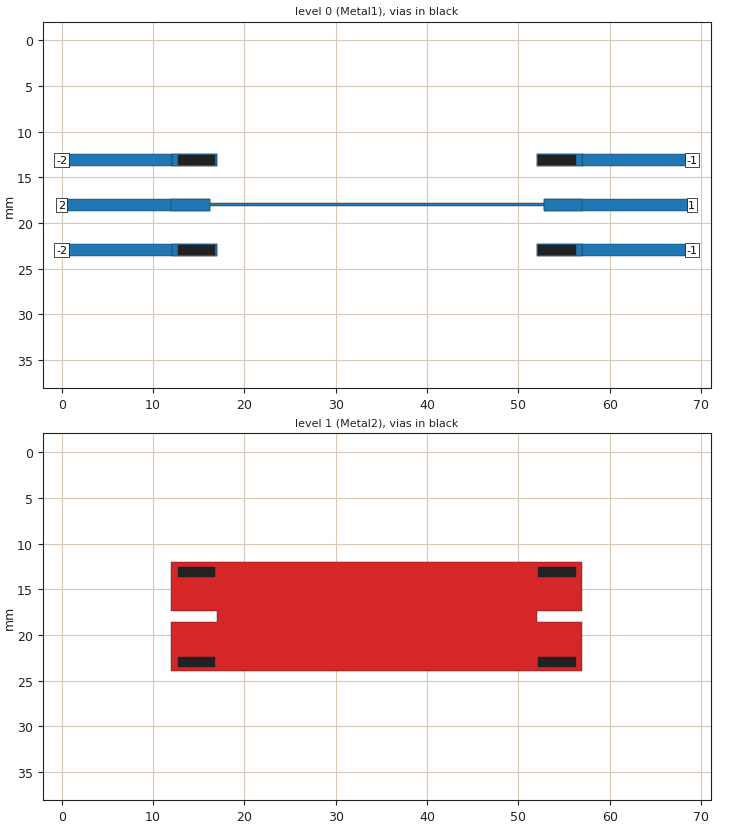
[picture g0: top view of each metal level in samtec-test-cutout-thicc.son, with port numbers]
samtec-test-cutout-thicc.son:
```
FTYP SONPROJ 18 ! Sonnet Project File
VER 17.56
HEADER
LIC antikernel2.1.50170 ac1f6b6437c5 havequick azonenberg Level3Gold
DAT 05/29/2021 16:32:28
BUILT_BY_CREATED dxf 17.52.2 05/01/2020 05:35:06
BUILT_BY_SAVED sonnet 17.56
MDATE 05/29/2021 16:32:28
HDATE 05/29/2021 16:32:28
ANN Created by dxfgeo, Sonnet Software Inc.
ANN 
ANN _gk:
ANN 
ANN removed minus Co-Cal ports on PCB groundpads. They reference internal groundplane, while plus ports reference the analysis box
ANN enlarged the box from 45.6 x 15 mm to 49 x 16 mm which creates  a 2 mm gap around the circuit
ANN moved whole structure @-0.125,0 to align with 0.25 mm grid
ANN added 2 mm feedlines to the signal trace and groundpads
ANN push/pull port configuration
ANN 
ANN _gk3:
ANN 
ANN trying to decrease interaction between circuit and box sidewalls and place in open space
ANN increased box to 69 x 36 mm and recentered geometry
ANN increased reference planes to 12 mm
ANN 
ANN 
ANN 
ANN 
ANN 
ANN 
END HEADER
DIM
ANG DEG
CAP PF
CON /OH
FREQ GHZ
IND NH
LNG MM
RES OH
END DIM
CONTROL
VARSWP
OPTIONS  -dj
SPEED 1
CACHE_ABS 1
Q_ACC N
END CONTROL
GEO
SYM
DRP1 LEFT FIX 12
DRP1 RIGHT FIX 12
TMET "Free Space" 0 FREESPACE 376.7303136 0 0 0
BMET "Free Space" 0 FREESPACE 376.7303136 0 0 0
MET "Copper 1oz thick" 2 TMM 58000000 0.5 0.035 2
MET "Nickel " 3 TMM 14300000 0.5 3.5e-05 2
MET "Copper 0.5oz" 1 NOR 58000000 0.5 0.0175 
MET "Unknown_metal" 1 NOR INF 0.5 0 
MET "Center pin" 30 TMM 5.8e-07 0.5 1.27 5
MET "Unknown_metal" 1 VOL INF 0
BRI "Alumina (96%)" 0 9.4 0.0004 0 
BRI "Alumina (99.5%)" 0 9.9 0.0001 0 
BRI "Aluminum Nitride" 0 8.6 0.0003 0 
BRI "Arlon 25FR" 0 3.58 0.0035 0 
BRI "Arlon 25N" 0 3.38 0.0025 0 
BRI "Arlon AD5" 0 5.1 0.003 0 
BRI "Arlon AD10" 0 10.2 0.005 0 
BRI "Arlon AD250" 0 2.5 0.0018 0 
BRI "Arlon AD255A" 0 2.55 0.0015 0 
BRI "Arlon AD260A" 0 2.6 0.0018 0 
BRI "Arlon AD270" 0 2.7 0.0023 0 
BRI "Arlon AD300A" 0 3 0.002 0 
BRI "Arlon AD320A" 0 3.2 0.0032 0 
BRI "Arlon AD350A" 0 3.5 0.003 0 
BRI "Arlon AD410" 0 4.1 0.003 0 
BRI "Arlon AD430" 0 4.3 0.003 0 
BRI "Arlon AD450" 0 4.5 0.0035 0 
BRI "Arlon AD600" 0 6.15 0.003 0 
BRI "Arlon AD1000" 0 10.2 0.0023 0 
BRI "Arlon AR1000" 0 9.8 0.003 0 
BRI "Arlon CLTE" 0 2.96 0.0023 0 
BRI "Arlon CLTE-AT" 0 3 0.0013 0 
BRI "Arlon CLTE-P" 0 2.94 0.0025 0 
BRI "Arlon CLTE-XT" 0 2.94 0.0012 0 
BRI "Arlon Cu 217LX" 0 2.17 0.0009 0 
BRI "Arlon Cu 233LX" 0 2.33 0.0013 0 
BRI "Arlon Cu 250GT" 0 2.5 0.001 0 
BRI "Arlon Cu 250GX" 0 2.5 0.0018 0 
BRI "Arlon Cu 6250" 0 2.32 0.0013 0 
BRI "Arlon Cu 6700" 0 2.35 0.0025 0 
BRI "Arlon Di 522" 0 2.5 0.001 0 
BRI "Arlon Di 527" 0 2.5 0.0018 0 
BRI "Arlon Di 870" 0 2.33 0.0013 0 
BRI "Arlon Di 880" 0 2.17 0.0009 0 
BRI "Arlon Iso 917" 0 2.17 0.0013 0 
BRI "Arlon Iso 933" 0 2.33 0.0016 0 
BRI "Arlon Multi HF" 0 3.7 0.004 0 
BRI "Arlon TC350" 0 3.5 0.002 0 
BRI "Arlon TC600" 0 6.15 0.002 0 
BRI "Beryllia (99.5%)" 0 6.5 0.0004 0 
BRI "CEM-1" 0 4.5 0.02 0 
BRI "CEM-3" 0 4.5 0.02 0 
BRI "Dupont 9K7" 0 7.1 0.0012 0 
BRI "Dupont 943" 0 7.4 0.002 0 
BRI "Dupont 951" 0 7.8 0.006 0 
BRI "Dupont FEP" 0 2 0.0005 0 
BRI "Dupont Vacrel" 0 3.8 0.011 0 
BRI "ESL 41010" 0 7.5 0.005 0 
BRI "ESL 41020" 0 7.25 0.005 0 
BRI "ESL 41050" 0 13.5 0.002 0 
BRI "ESL 41060" 0 16.5 0.002 0 
BRI "ESL 41110" 0 4.5 0.004 0 
BRI "Ferro A6M" 0 5.9 0.002 0 
BRI "Ferro A6S" 0 5.9 0.002 0 
BRI "Ferro L8" 0 7.3 0.0018 0 
BRI "FR-4" 0 4.4 0.02 0 
BRI "G-10" 0 4.8 0.025 0 
BRI "Gallium Arsenide" 0 12.9 0.006 0 
BRI "Gallium Nitride" 0 9.7 0 0 
BRI "Glass (Pyrex)" 0 4.82 0.0054 0 
BRI "Heraeus HL2000" 0 7.3 0.0026 0 
BRI "Isola 370HR" 0 4.04 0.021 0 
BRI "Isola FR408" 0 3.77 0.0116 0 
BRI "Isola FR408HR" 0 3.68 0.0092 0 
BRI "Isola Getek" 0 3.6 0.01 0 
BRI "Isola GI-180" 0 3.7 0.013 0 
BRI "Isola IS415" 0 3.82 0.0125 0 
BRI "Isola IS620i" 0 3.58 0.006 0 
BRI "Isola IS680-280" 0 2.8 0.0025 0 
BRI "Isola IS680-300" 0 3 0.003 0 
BRI "Isola IS680-320" 0 3.2 0.003 0 
BRI "Isola IS680-333" 0 3.33 0.003 0 
BRI "Isola IS680-338" 0 3.38 0.0032 0 
BRI "Isola IS680-345" 0 3.45 0.0036 0 
BRI "Kerafol CT800" 0 5.3 0.008 0 
BRI "Nelco MW9350" 0 3.7 0.004 0 
BRI "Nelco N4000-12" 0 3.7 0.008 0 
BRI "Nelco N4000-13" 0 3.7 0.009 0 
BRI "Nelco N4000-13SI" 0 3.2 0.007 0 
BRI "Nelco N4000-13EP" 0 3.7 0.008 0 
BRI "Nelco N4350-13RF" 0 3.5 0.0065 0 
BRI "Nelco N4380-13RF" 0 3.8 0.007 0 
BRI "Nelco N9300-13RF" 0 3 0.004 0 
BRI "Nelco N9320-13RF" 0 3.2 0.0045 0 
BRI "Nelco N9338-13RF" 0 3.38 0.0046 0 
BRI "Nelco N9350-13RF" 0 3.48 0.0055 0 
BRI "Nelco NH9294" 0 2.94 0.0022 0 
BRI "Nelco NH9300" 0 3 0.0023 0 
BRI "Nelco NH9320" 0 3.2 0.0024 0 
BRI "Nelco NH9338" 0 3.38 0.0025 0 
BRI "Nelco NH9348" 0 3.48 0.003 0 
BRI "Nelco NH9350" 0 3.5 0.003 0 
BRI "Nelco NH9410" 0 4.1 0.003 0 
BRI "Nelco NH9450" 0 4.5 0.003 0 
BRI "Nelco NX9240" 0 2.4 0.0016 0 
BRI "Nelco NX9245" 0 2.45 0.0016 0 
BRI "Nelco NX9250" 0 2.5 0.0017 0 
BRI "Nelco NX9255" 0 2.55 0.0018 0 
BRI "Nelco NX9260" 0 2.6 0.0019 0 
BRI "Nelco NY9208" 0 2.08 0.0006 0 
BRI "Nelco NY9217" 0 2.17 0.0008 0 
BRI "Nelco NY9220" 0 2.2 0.0009 0 
BRI "Nelco NY9233" 0 2.33 0.0011 0 
BRI "PET" 0 3.37 0.0208 0 
BRI "Polyimide" 0 3.5 0.003 0 
BRI "Quartz (Fused)" 0 3.78 0.0001 0 
BRI "Rogers 3001" 0 2.28 0.003 0 
BRI "Rogers RO2808" 0 7.6 0.0015 0 
BRI "Rogers RO3003" 0 3 0.0013 0 
BRI "Rogers RO3006" 0 6.5 0.002 0 
BRI "Rogers RO3010" 0 11.2 0.0022 0 
BRI "Rogers RO3035" 0 3.6 0.0018 0 
BRI "Rogers RO3203" 0 3.02 0.0016 0 
BRI "Rogers RO3206" 0 6.6 0.0027 0 
BRI "Rogers RO3210" 0 10.8 0.0027 0 
BRI "Rogers RO3730" 0 3 0.0016 0 
BRI "Rogers RO4003C" 0 3.55 0.0029 0 
BRI "Rogers RO4533" 0 3.45 0.0029 0 
BRI "Rogers RO4534" 0 3.4 0.003 0 
BRI "Rogers RO4350B" 0 3.66 0.0037 0 
BRI "Rogers RO4350BTX" 0 3.66 0.0034 0 
BRI "Rogers RO4360" 0 6.15 0.0038 0 
BRI "Rogers RO4450B-3.6" 0 3.3 0.0043 0 
BRI "Rogers RO4450B-4" 0 3.54 0.004 0 
BRI "Rogers RO4450F" 0 3.52 0.0041 0 
BRI "Rogers RO4730" 0 3 0.0033 0 
BRI "Rogers RT5870" 0 2.33 0.0012 0 
BRI "Rogers RT5880" 0 2.2 0.0009 0 
BRI "Rogers RT5880LZ" 0 1.96 0.0019 0 
BRI "Rogers RT6002" 0 2.94 0.0012 0 
BRI "Rogers RT6006" 0 6.15 0.0027 0 
BRI "Rogers RT6010LM" 0 10.9 0.0023 0 
BRI "Rogers RT6035HTC" 0 3.6 0.0013 0 
BRI "Rogers RT6202" 0 2.94 0.0015 0 
BRI "Rogers RT6202PR" 0 2.95 0.0015 0 
BRI "Rogers Syron7000" 0 3.4 0.0045 0 
BRI "Rogers Syron7100-2" 0 3.61 0.006 0 
BRI "Rogers Syron7100-4" 0 3.39 0.005 0 
BRI "Rogers Theta" 0 4.01 0.0118 0 
BRI "Rogers TMM 3" 0 3.39 0.002 0 
BRI "Rogers TMM 4" 0 4.5 0.002 0 
BRI "Rogers TMM 6" 0 6 0.0023 0 
BRI "Rogers TMM 10" 0 9.56 0.0022 0 
BRI "Rogers TMM 10i" 0 9.96 0.002 0 
BRI "Rogers UL2000" 0 2.5 0.0019 0 
BRI "Rogers UL3850" 0 3.05 0.0025 0 
BRI "Rogers UL3908" 0 2.9 0.0025 0 
BRI "Rogers XT8000" 0 3.34 0.0035 0 
BRI "Rogers XT8100-2" 0 3.54 0.0049 0 
BRI "Rogers XT8100-4" 0 3.32 0.0038 0 
BRI "Silicon (intrinsic)" 0 11.9 0.004 0.00044 
BRI "Silicon Dioxide" 0 3.9 0 0 
BRI "Silicon Nitride" 0 7.5 0 0 
BRI "Taconic CER-10" 0 10 0.0035 0 
BRI "Taconic FastFilm" 0 2.7 0.0012 0 
BRI "Taconic Fastrise-DS" 0 2.96 0.0018 0 
BRI "Taconic Fastrise27" 0 2.7 0.0014 0 
BRI "Taconic Fastrise77" 0 7.7 0.0034 0 
BRI "Taconic FEP" 0 2 0.0003 0 
BRI "Taconic RF-30" 0 3 0.0014 0 
BRI "Taconic RF-35" 0 3.5 0.0018 0 
BRI "Taconic RF-35A2" 0 3.5 0.0011 0 
BRI "Taconic RF-35P" 0 3.5 0.0025 0 
BRI "Taconic RF-41" 0 4.1 0.0038 0 
BRI "Taconic RF-43" 0 4.3 0.0033 0 
BRI "Taconic RF-45" 0 4.5 0.0037 0 
BRI "Taconic RF-60A" 0 6.15 0.0038 0 
BRI "Taconic RF-301" 0 2.97 0.0012 0 
BRI "Taconic TacBond HT" 0 2.35 0.0025 0 
BRI "Taconic TLA-6" 0 2.62 0.0012 0 
BRI "Taconic TLC-27" 0 2.75 0.003 0 
BRI "Taconic TLC-30" 0 3 0.003 0 
BRI "Taconic TLC-32" 0 3.2 0.003 0 
BRI "Taconic TLE-95" 0 2.95 0.0028 0 
BRI "Taconic TLF-34" 0 3.4 0.002 0 
BRI "Taconic TLF-35" 0 3.5 0.002 0 
BRI "Taconic TLP-3" 0 2.33 0.0009 0 
BRI "Taconic TLP-5" 0 2.2 0.0009 0 
BRI "Taconic TLP-5A" 0 2.17 0.0009 0 
BRI "Taconic TLT-0" 0 2.45 0.0006 0 
BRI "Taconic TLT-9" 0 2.5 0.0006 0 
BRI "Taconic TLT-8" 0 2.55 0.0006 0 
BRI "Taconic TLT-7" 0 2.6 0.0006 0 
BRI "Taconic TLT-6" 0 2.65 0.0006 0 
BRI "Taconic TLX-0" 0 2.45 0.0019 0 
BRI "Taconic TLX-9" 0 2.5 0.0019 0 
BRI "Taconic TLX-8" 0 2.55 0.0019 0 
BRI "Taconic TLX-7" 0 2.6 0.0019 0 
BRI "Taconic TLX-6" 0 2.65 0.0019 0 
BRI "Taconic TLY-3" 0 2.33 0.0009 0 
BRI "Taconic TLY-3F" 0 2.33 0.0009 0 
BRI "Taconic TLY-5" 0 2.2 0.0009 0 
BRI "Taconic TLY-5-L" 0 2.2 0.0009 0 
BRI "Taconic TLY-5A" 0 2.17 0.0009 0 
BRI "Taconic TLY-5A-L" 0 2.17 0.0009 0 
BRI "Taconic TPG-30" 0 3 0.0038 0 
BRI "Taconic TPG-32" 0 3.2 0.005 0 
BRI "Taconic TPG-35" 0 3.5 0.005 0 
BRI "Taconic TRF-41" 0 4.1 0.0035 0 
BRI "Taconic TRF-43" 0 4.3 0.0035 0 
BRI "Taconic TRF-45" 0 4.5 0.0035 0 
BRI "Taconic TSM-DS" 0 2.85 0.001 0 
BRI "Taconic TSM-DS3" 0 3 0.0011 0 
BRI "Taconic TSM-26" 0 2.6 0.0014 0 
BRI "Taconic TSM-29" 0 2.94 0.0013 0 
BRI "Taconic TSM-30" 0 3 0.0013 0 
BRI "Teflon (PTFE)" 0 2.08 0.0004 0 
BOX 3 69 36 5520 2880 20 0
      10 1 1 0 0 0 0 "Air"
      0.166 3.6 1 0.0092 0 0 0 "Isola FR408HR"
      1.4 3.6 1 0.0092 0 0 0 "Isola FR408HR"
      10 1 1 0 0 0 0 "Air"
TECHLAY METAL Metal1 BLACK -2 0 
0 0 0 N 1679 1 1 100 100 0 0 0 Y
END
END
TECHLAY METAL Pin <UNSPECIFIED> -5 0 
0 0 4 N 1722 1 1 100 100 0 0 0 Y
END
END
TECHLAY METAL Metal2 BLACK -3 0 
1 0 2 N 1688 1 1 100 100 0 0 0 Y
END
END
TECHLAY VIA Via1 <UNSPECIFIED> -4 0 
VIA POLYGON
1 0 -1 N 1690 1 1 100 100 0 0 0 Y
TOLEVEL 0 RING NOCOVERS
END
END
VALVAR BOTLEN LNG 2 "Dim. Param."
VALVAR TOPLEN LNG 3 "Dim. Param."
VALVAR TRACE LNG 0.35 "Dim. Param."
VALVAR PINWIDTH LNG 1.27 "Dim. Param."
VALVAR PINWIDTH2 LNG "PINWIDTH" "Dim. Param."
VALVAR YCUT LNG 1.2 "Dim. Param."
VALVAR XCUT LNG 5 "Dim. Param."
VALVAR XCUT2 LNG "XCUT" "Dim. Param."
DIM STD YDIR -1
POS -0.21850721 -0.6326339097
NOM 1.35
REF1 POLY 5 1
0
REF2 POLY 5 1
1
END
DIM STD YDIR 1
POS -0.4092108244 0.6357732934
NOM 1.35
REF1 POLY 2 1
1
REF2 POLY 2 1
0
END
DIM STD YDIR 1
POS 2.699446946 0.4383204377
NOM 0.35
REF1 POLY 3 1
3
REF2 POLY 3 1
10
END
DIM STD YDIR 1
POS 0.6000686618 0.672676843
NOM 1.35
REF1 POLY 4 1
2
REF2 POLY 4 1
3
END
DIM STD YDIR 1
POS -0.2823370252 2.242241338
NOM 3.615
REF1 POLY 4 1
3
REF2 POLY 3 1
2
END
DIM STD XDIR -1
POS -4.476487512 -0.242410536
NOM 4.9
REF1 POLY 4 1
2
REF2 POLY 938 1
1
END
LORGN 0 36 U 
POR1 BOX
POLY 3 1
6
1 50 0 0 0 69 18 
POR1 BOX
POLY 3 1
0
2 50 0 0 0 0 18 
POR1 BOX
POLY 938 1
3
-2 50 0 0 0 0 13.075 
POR1 BOX
POLY 939 1
3
-2 50 0 0 0 0 22.925 
POR1 BOX
POLY 940 1
3
-1 50 0 0 0 69 22.925 
POR1 BOX
POLY 941 1
3
-1 50 0 0 0 69 13.075 
NUM 20
0 5 0 N 5 1 1 100 100 0 0 0 Y
TLAYNAM Metal1 INH
52.025 13.75
52.025 12.4
56.925 12.4
56.925 13.75
52.025 13.75
END
0 13 0 N 3 1 1 100 100 0 0 0 Y
TLAYNAM Metal1 INH
0 18.635
0 17.365
16.2 17.365
16.2 17.825
52.8 17.825
52.8 17.365
69 17.365
69 18.635
52.8 18.635
52.8 18.175
16.2 18.175
16.2 18.635
0 18.635
END
0 5 0 N 4 1 1 100 100 0 0 0 Y
TLAYNAM Metal1 INH
12.05 13.75
12.05 12.4
16.95 12.4
16.95 13.75
12.05 13.75
END
0 5 0 N 2 1 1 100 100 0 0 0 Y
TLAYNAM Metal1 INH
52.025 23.6
52.025 22.25
56.925 22.25
56.925 23.6
52.025 23.6
END
0 5 0 N 1 1 1 100 100 0 0 0 Y
TLAYNAM Metal1 INH
12.05 23.6
12.05 22.25
16.95 22.25
16.95 23.6
12.05 23.6
END
0 5 0 N 938 1 1 100 100 0 0 0 Y
TLAYNAM Metal1 INH
0 12.4
12.05 12.4
12.05 13.75
0 13.75
0 12.4
END
0 5 0 N 939 1 1 100 100 0 0 0 Y
TLAYNAM Metal1 INH
0 23.6
12.05 23.6
12.05 22.25
0 22.25
0 23.6
END
0 5 0 N 940 1 1 100 100 0 0 0 Y
TLAYNAM Metal1 INH
69 23.6
56.925 23.6
56.925 22.25
69 22.25
69 23.6
END
0 5 0 N 941 1 1 100 100 0 0 0 Y
TLAYNAM Metal1 INH
69 12.4
56.925 12.4
56.925 13.75
69 13.75
69 12.4
END
0 5 4 N 1724 1 1 100 100 0 0 0 Y
TLAYNAM Pin INH
12 17.375
16.2 17.375
16.2 18.635
12 18.635
12 17.375
END
0 5 4 N 1725 1 1 100 100 0 0 0 Y
TLAYNAM Pin INH
52.8 17.375
57 17.375
57 18.635
52.8 18.635
52.8 17.375
END
0 5 4 N 1726 1 1 100 100 0 0 0 Y
TLAYNAM Pin INH
12.05 12.4
16.95 12.4
16.95 13.75
12.05 13.75
12.05 12.4
END
0 5 4 N 1727 1 1 100 100 0 0 0 Y
TLAYNAM Pin INH
12.05 22.25
16.95 22.25
16.95 23.6
12.05 23.6
12.05 22.25
END
0 5 4 N 1728 1 1 100 100 0 0 0 Y
TLAYNAM Pin INH
52.025 22.25
56.925 22.25
56.925 23.6
52.025 23.6
52.025 22.25
END
0 5 4 N 1729 1 1 100 100 0 0 0 Y
TLAYNAM Pin INH
52.025 12.4
56.925 12.4
56.925 13.75
52.025 13.75
52.025 12.4
END
1 13 2 N 692 1 1 100 100 0 0 0 Y
TLAYNAM Metal2 INH
57 18.6
52 18.6
52 17.4
57 17.4
57 12.025
12 12.025
12 17.4
17 17.4
17 18.6
12 18.6
12 23.975
57 23.975
57 18.6
END
VIA POLYGON
1 5 -1 N 1453 1 1 100 100 0 0 0 Y
TOLEVEL 0 RING NOCOVERS
TLAYNAM Via1 INH
12.7 12.55
16.8 12.55
16.8 13.6
12.7 13.6
12.7 12.55
END
VIA POLYGON
1 5 -1 N 1454 1 1 100 100 0 0 0 Y
TOLEVEL 0 RING NOCOVERS
TLAYNAM Via1 INH
52.175 22.4
56.275 22.4
56.275 23.45
52.175 23.45
52.175 22.4
END
VIA POLYGON
1 5 -1 N 1455 1 1 100 100 0 0 0 Y
TOLEVEL 0 RING NOCOVERS
TLAYNAM Via1 INH
12.7 22.4
16.8 22.4
16.8 23.45
12.7 23.45
12.7 22.4
END
VIA POLYGON
1 5 -1 N 1456 1 1 100 100 0 0 0 Y
TOLEVEL 0 RING NOCOVERS
TLAYNAM Via1 INH
52.175 12.55
56.275 12.55
56.275 13.6
52.175 13.6
52.175 12.55
END
END GEO
OPT
MAX 100
END OPT
VARSWP
SWPVARS ON
ENABLED Y
FREQ Y AY ABS_ENTRY 0.01 16.0 -1 300 
VAR TRACE N 0.4 0.4 UNDEF
VAR PINWIDTH N 1.0 2.0 0.2
VAR XCUT N 4.5 5.5 0.5
VAR YCUT N 1.15 1.35 0.1
END
END VARSWP
3DOPTIONS
GLOBAL 1
ALL 4 1
END 3DOPTIONS
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```
